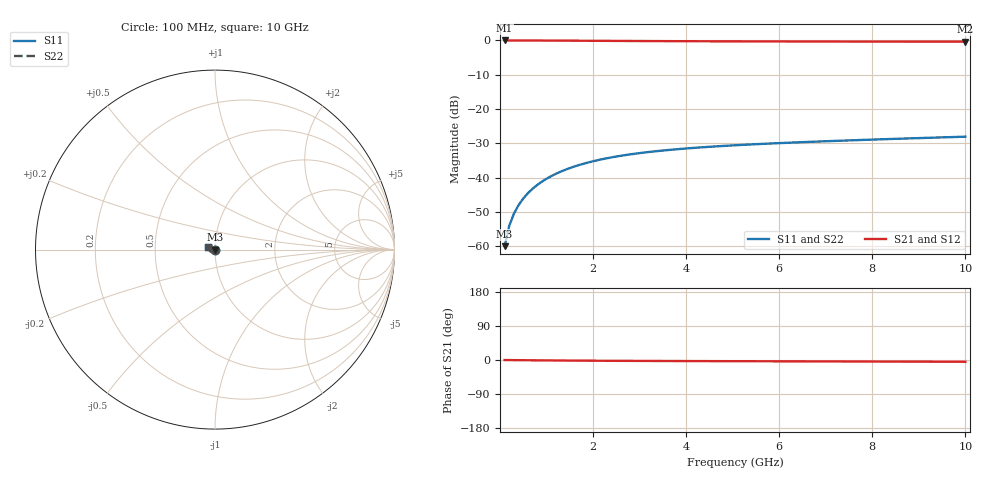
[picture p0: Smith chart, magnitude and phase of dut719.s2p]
! Touchstone file exported from HFSS 2024.1.0
!  File:  C:/UserFiles/LocalFiles/RDL_TSV_Batchsim/temp_TSV1_719_1779868234.aedt
!  Generated:  03:56:08 PM May 27, 2026
!  Design:  TSV1
!  Project:  temp_TSV1_719_1779868234
!  Setup:  Setup1
!  Solution:  Sweep
! Variables:
!  dtsv = 10.15um
!  hbump = 3um
!  htsv = 69.08um
!  lrdl = 252.1521522um
!  p = 40
!  p1 = 59.87um
!  t = 500um
!  trdl = 3um
!  wrdl = 24.89489489um
# GHz S MA R 50.000000
! Terminal data exported
! Port[1] = TSV22_T1
! Port[2] = TSV22_T2
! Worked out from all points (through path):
!   100 points, 100 MHz to 10 GHz, reference 50 ohm
!   highest |S21| = 0.00 dB at 100 MHz (marker M1); lowest = -0.4 dB at 10 GHz (marker M2)
!   lowest |S11| = -60.0 dB at 100 MHz (marker M3), VSWR 1.00, Z = 50 - j0.1 ohm
!   |S11| at or under -10 dB: start of sweep to end of sweep
!   |S22| runs from -60.0 to -28.0 dB; largest |S21 - S12| = 5.2e-15
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0.1  0.001005 -84.9  0.9998 -0.1  0.9998 -0.1  0.001005 -84.9
! Gamma 0 0 0 0
! Port Impedance 50 0 50 0
0.2  0.002 -90.5  0.9997 -0.2  0.9997 -0.2  0.002 -90.5
0.3  0.002995 -93.9  0.9995 -0.3  0.9995 -0.3  0.002995 -93.9
0.4  0.003986 -96.6  0.9992 -0.5  0.9992 -0.5  0.003986 -96.6
0.5  0.004968 -99.2  0.9989 -0.6  0.9989 -0.6  0.004968 -99.2
0.6  0.005938 -101.6  0.9985 -0.7  0.9985 -0.7  0.005938 -101.6
0.7  0.006893 -103.9  0.998 -0.8  0.998 -0.8  0.006893 -103.9
0.8  0.007832 -106.1  0.9975 -0.9  0.9975 -0.9  0.007832 -106.1
0.9  0.008751 -108.3  0.9969 -1.0  0.9969 -1.0  0.008751 -108.3
1.1  0.01053 -112.5  0.9956 -1.2  0.9956 -1.2  0.01053 -112.5
1.4  0.01303 -118.6  0.9934 -1.4  0.9934 -1.4  0.01303 -118.6
1.6  0.01457 -122.4  0.9918 -1.6  0.9918 -1.6  0.01457 -122.4
1.8  0.01601 -126.1  0.9902 -1.7  0.9902 -1.7  0.01601 -126.1
2.1  0.018 -131.3  0.9877 -1.9  0.9877 -1.9  0.018 -131.3
2.5  0.02034 -137.7  0.9845 -2.2  0.9845 -2.2  0.02034 -137.7
2.9  0.02236 -143.6  0.9816 -2.4  0.9816 -2.4  0.02236 -143.6
3.4  0.02451 -150.2  0.9782 -2.6  0.9782 -2.6  0.02451 -150.2
4.2  0.0273 -159.5  0.9738 -2.9  0.9738 -2.9  0.0273 -159.5
5.1  0.0298 -168.3  0.97 -3.2  0.97 -3.2  0.0298 -168.3
6.7  0.03338 179.0  0.9653 -3.7  0.9653 -3.7  0.03338 179.0
8.4  0.03666 168.2  0.9621 -4.2  0.9621 -4.2  0.03665 168.2
10  0.0396 159.8  0.9601 -4.7  0.9601 -4.7  0.0396 159.8
